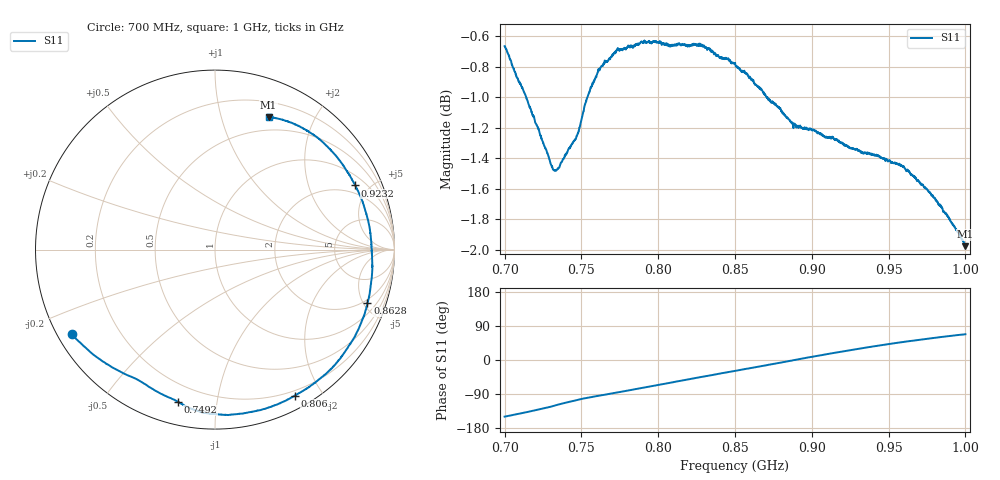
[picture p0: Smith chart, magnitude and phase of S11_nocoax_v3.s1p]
# HZ S RI R 50
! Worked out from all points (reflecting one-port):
!   2048 points, 700 MHz to 1 GHz, reference 50 ohm
!   lowest |S11| = -2.0 dB at 1 GHz (marker M1), VSWR 8.83, Z = 17.6 + j71.2 ohm
!   phase of S11 starts at -149 deg and turns +217 deg over the sweep
!   S11 on the Smith chart (normalised r, x): 700 MHz: 0.04, -0.27; 749.2 MHz: 0.11, -0.78; 806 MHz: 0.15, -1.68; 862.8 MHz: 1.69, -5.34; 923.2 MHz: 1.49, +4.07; 1 GHz: 0.35, +1.42
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7e8  -0.7975 -0.4713
7.120176e8  -0.6829 -0.5806
7.205178e8  -0.5875 -0.6464
7.315095e8  -0.4419 -0.7194
7.375183e8  -0.3583 -0.7701
7.492428e8  -0.2046 -0.8488
7.545188e8  -0.1452 -0.8811
7.615535e8  -0.0656 -0.9081
7.750367e8  0.0888 -0.9201
7.901319e8  0.2679 -0.8893
7.978994e8  0.3564 -0.8582
8.0596e8  0.4443 -0.8132
8.12555e8  0.5144 -0.772
8.299952e8  0.673 -0.6357
8.418662e8  0.7556 -0.5209
8.500733e8  0.8021 -0.4397
8.628237e8  0.8492 -0.2987
8.761603e8  0.8736 -0.1485
8.875917e8  0.874 -0.0133
9.038594e8  0.8518 0.1655
9.127993e8  0.8241 0.2603
9.232048e8  0.7808 0.3574
9.2511e8  0.7718 0.374
9.441623e8  0.6681 0.5291
9.542747e8  0.6036 0.5963
9.626284e8  0.5508 0.6383
9.806547e8  0.4244 0.7069
1e9  0.2988 0.7384
